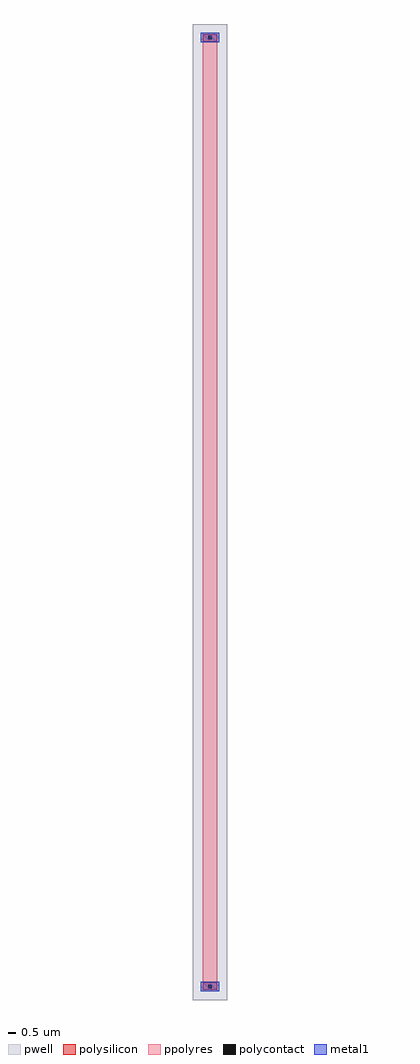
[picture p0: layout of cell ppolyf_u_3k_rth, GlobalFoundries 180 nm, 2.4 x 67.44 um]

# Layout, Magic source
magic
tech gf180mcuD
magscale 1 10
<< ppolyres >>
rect -100 -6502 100 6502
<< polysilicon >>
rect -100 6502 100 6604
rect -100 -6604 100 -6502
<< polycontact >>
rect -22 6534 22 6580
rect -22 -6580 22 -6534
<< metal1 >>
rect -130 6492 130 6622
rect -130 -6622 130 -6492
<< pwell >>
rect -240 -6744 240 6744
<< properties >>
<< end >>
